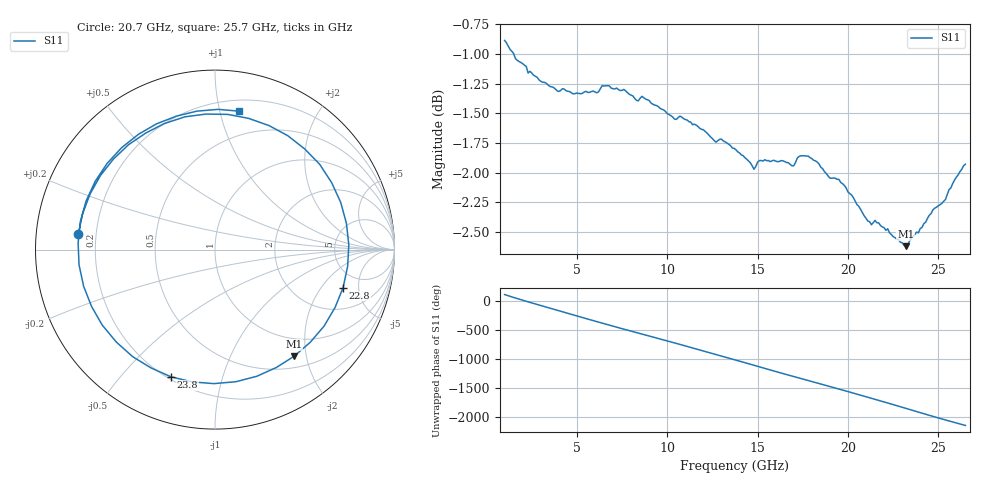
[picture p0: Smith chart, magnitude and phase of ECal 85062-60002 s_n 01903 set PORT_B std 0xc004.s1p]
!Created with skrf (http://scikit-rf.org).
# Hz S RI R 50.0
!freq ReS11 ImS11
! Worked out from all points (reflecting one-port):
!   256 points, 1 GHz to 26.5 GHz, reference 50 ohm
!   lowest |S11| = -2.6 dB at 23.2 GHz (marker M1), VSWR 6.69, Z = 34 - j89.2 ohm
!   phase of S11 starts at 107 deg and turns -2255 deg over the sweep
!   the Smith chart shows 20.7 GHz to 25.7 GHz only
!   S11 on the Smith chart (normalised r, x): 20.7 GHz: 0.13, +0.06; 22.8 GHz: 3.52, -3.34; 23.8 GHz: 0.21, -0.69; 25.7 GHz: 0.29, +1.15
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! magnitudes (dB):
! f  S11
! 1 GHz  -0.9
! 2.3 GHz  -1.2
! 3.9 GHz  -1.3
! 4.2 GHz  -1.3
! 4.8 GHz  -1.3
! 6.1 GHz  -1.3
! 6.4 GHz  -1.3
! 7.4 GHz  -1.3
! 8.3 GHz  -1.4
! 8.6 GHz  -1.4
! 10.6 GHz  -1.5
! 13.8 GHz  -1.8
! 14.8 GHz  -2.0
! 15.4 GHz  -1.9
! 17 GHz  -1.9
! 17.3 GHz  -1.9
! 17.8 GHz  -1.9
! 20.2 GHz  -2.2
! 20.7 GHz  -2.3
! 21.3 GHz  -2.4
! 21.5 GHz  -2.4
! 22.8 GHz  -2.6
! 23.2 GHz  -2.6
! 23.4 GHz  -2.6
! 23.8 GHz  -2.5
! 25.4 GHz  -2.2
! 25.7 GHz  -2.1
! 26.5 GHz  -1.9
